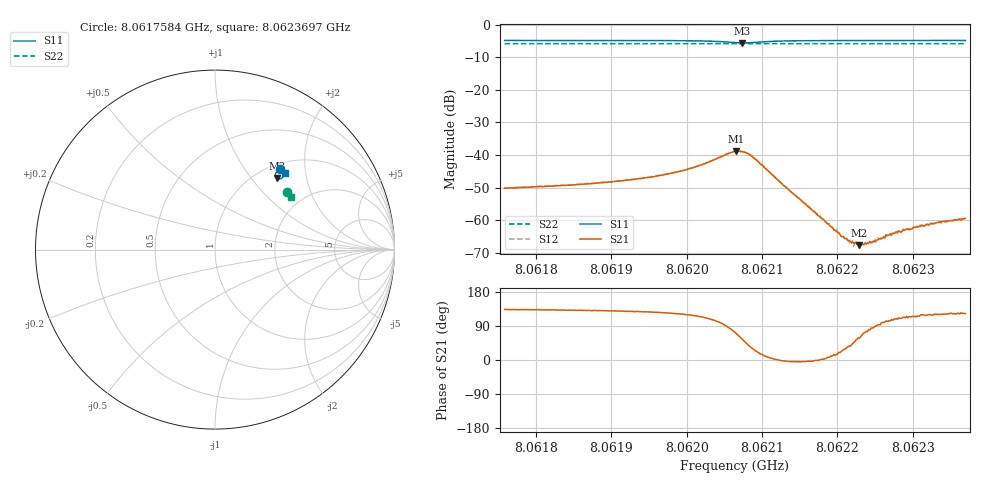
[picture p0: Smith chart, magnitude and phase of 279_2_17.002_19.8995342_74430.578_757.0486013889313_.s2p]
#  HZ  S  RI  R  50.00
! Rohde & Schwarz Vector Network Analyzer
! Rohde-Schwarz,ZNB20-2Port,1311601062101988,3.16
! Created: UTC 3/20/2024, 11:04:37 PM
! freq[Hz]  re:S11  im:S11  re:S21  im:S21  re:S12  im:S12  re:S22  im:S22
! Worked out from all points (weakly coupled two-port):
!   401 points, 8.0617584 GHz to 8.0623697 GHz, reference 50 ohm
!   highest |S21| = -38.75 dB at 8.0620656 GHz (marker M1); lowest = -67.6 dB at 8.0622291 GHz (marker M2)
!   lowest |S11| = -5.6 dB at 8.0620732 GHz (marker M3), VSWR 3.23, Z = 61.5 + j67.9 ohm
!   |S11| at or under -10 dB: nowhere
!   |S22| runs from -5.8 to -5.8 dB; largest |S21 - S12| = 0.00085
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8.06175836e9  0.3616 0.4483  -0.00212 0.00224  -0.00202 0.0024  0.401 0.3227
8.06186076e9  0.3688 0.4421  -0.00235 0.00265  -0.00218 0.00282  0.4049 0.3176
8.06192648e9  0.3739 0.4367  -0.00256 0.00326  -0.00239 0.00348  0.4073 0.3141
8.06196316e9  0.3773 0.4322  -0.0028 0.00391  -0.00257 0.0041  0.4087 0.312
8.06201054e9  0.3815 0.4218  -0.00294 0.0058  -0.00257 0.00601  0.4104 0.3095
8.06206403e9  0.3595 0.3941  0.00332 0.0109  0.00399 0.0106  0.4107 0.3059
8.06206556e9  0.3572 0.3942  0.00395 0.0108  0.00451 0.0106  0.4108 0.3057
8.0620732e9  0.346 0.3984  0.00631 0.00935  0.00694 0.00899  0.4106 0.3058
8.06208084e9  0.3384 0.408  0.00803 0.00688  0.00849 0.00646  0.4107 0.3059
8.06209307e9  0.338 0.4244  0.00771 0.00317  0.00791 0.00264  0.4113 0.3063
8.06212822e9  0.3566 0.4393  0.0034 -0.000143  0.00344 -0.000327  0.4136 0.305
8.06216643e9  0.3677 0.4384  0.00141 -8.08e-05  0.00142 -0.000149  0.4156 0.3029
8.06220311e9  0.3736 0.436  0.000569 0.000203  0.000582 0.000169  0.4169 0.3011
8.06221381e9  0.375 0.4352  0.000398 0.000274  0.000433 0.000236  0.4172 0.3004
8.0622184e9  0.3756 0.4349  0.000354 0.000289  0.000314 0.000275  0.4173 0.3001
8.06222909e9  0.3767 0.4342  0.000224 0.000351  0.000267 0.000376  0.418 0.2996
8.06224285e9  0.3782 0.4333  8.84e-05 0.000461  0.00011 0.000449  0.4182 0.299
8.06225355e9  0.3792 0.4327  -2.33e-05 0.000497  -4.83e-06 0.000533  0.4186 0.2984
8.06226883e9  0.3805 0.4316  -0.000145 0.000577  -6.08e-05 0.000561  0.4193 0.2974
8.06230246e9  0.3832 0.4298  -0.000333 0.0007  -0.000312 0.000706  0.4205 0.2958
8.06233608e9  0.3856 0.4278  -0.000478 0.000816  -0.000422 0.000816  0.4217 0.294
8.0623697e9  0.388 0.426  -0.000564 0.000899  -0.000525 0.000901  0.423 0.2922
